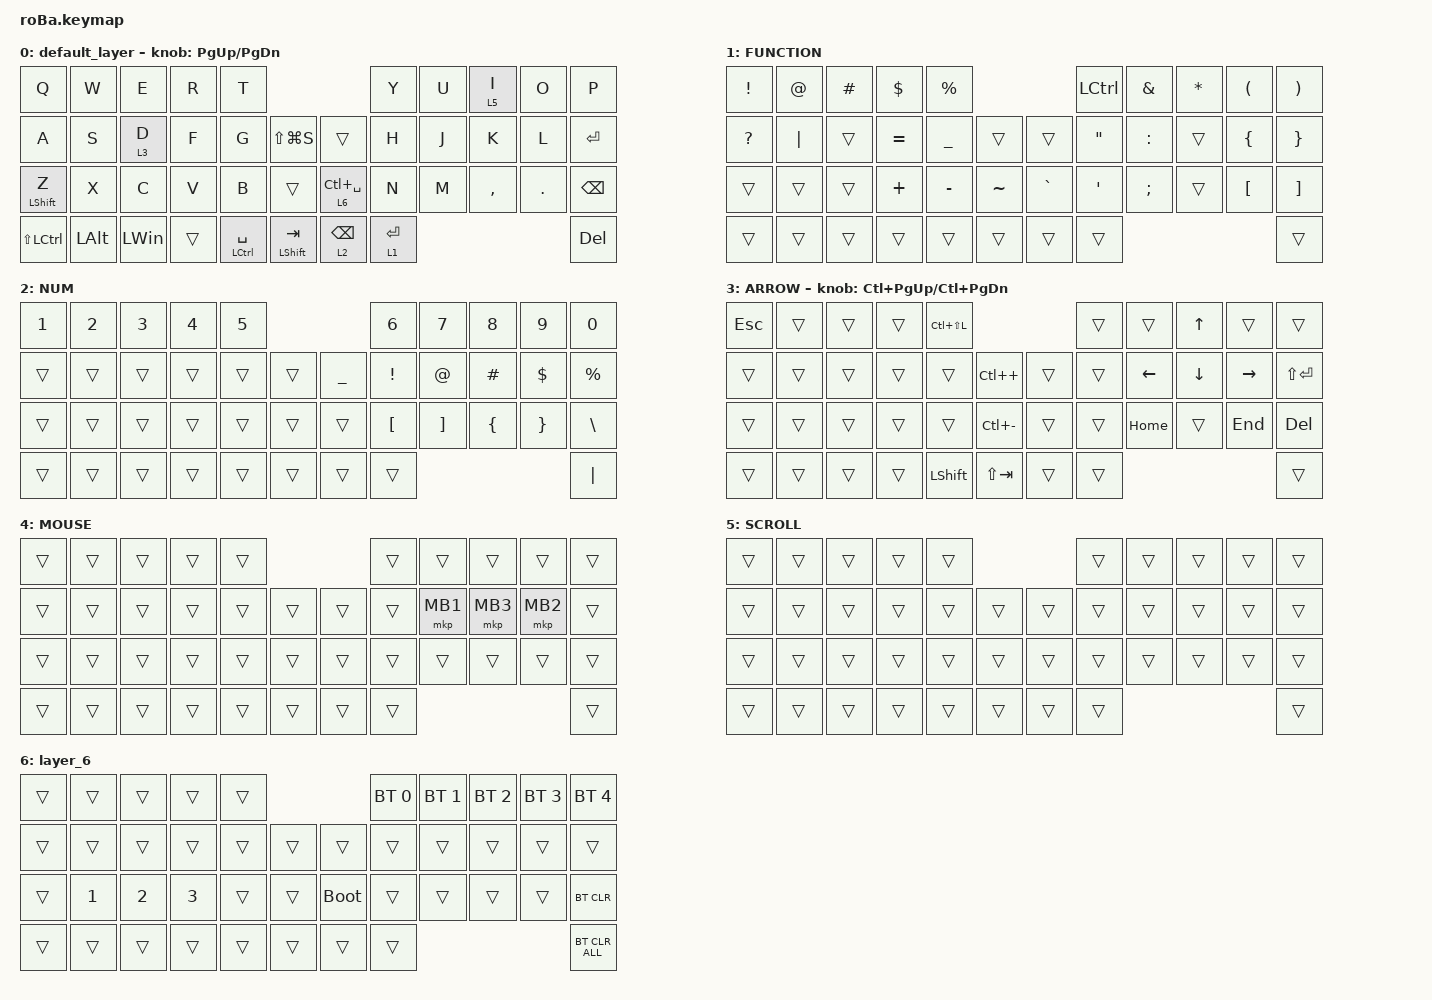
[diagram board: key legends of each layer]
#include <behaviors.dtsi>
#include <dt-bindings/zmk/bt.h>
#include <dt-bindings/zmk/keys.h>
#include <dt-bindings/zmk/pointing.h>

&mt {
    flavor = "balanced";
    quick-tap-ms = <0>;
};

/ {
    combos {
        compatible = "zmk,combos";

        tab {
            bindings = <&kp TAB>;
            key-positions = <11 12>;
        };

        shift_tab {
            bindings = <&kp LS(TAB)>;
            key-positions = <12 13>;
        };

        muhennkann {
            bindings = <&to_layer_0 INT_MUHENKAN>;
            key-positions = <11 10>;
        };

        double_quotation {
            bindings = <&kp DOUBLE_QUOTES>;
            key-positions = <20 21>;
        };

        eq {
            bindings = <&kp EQUAL>;
            key-positions = <24 25>;
        };
    };

    macros {
        to_layer_0: to_layer_0 {
            compatible = "zmk,behavior-macro-one-param";
            #binding-cells = <1>;
            bindings = <&to 0 &macro_param_1to1 &kp MACRO_PLACEHOLDER>;
            label = "TO_LAYER_0";
        };
    };

    behaviors {
        lt_to_layer_0: lt_to_layer_0 {
            compatible = "zmk,behavior-hold-tap";
            label = "LAYER_TAP_TO_0";
            bindings = <&mo>, <&to_layer_0>;

            #binding-cells = <2>;
            tapping-term-ms = <200>;
        };
    };

    keymap {
        compatible = "zmk,keymap";

        default_layer {
            bindings = <
&kp Q             &kp W         &kp E               &kp R   &kp T                                                                &kp Y        &kp U  &lt 5 I    &kp O    &kp P
&kp A             &kp S         &lt_to_layer_0 3 D  &kp F   &kp G            &kp LS(LG(S))           &trans                      &kp H        &kp J  &kp K      &kp L    &kp ENTER
&mt LEFT_SHIFT Z  &kp X         &kp C               &kp V   &kp B            &trans                  &lt_to_layer_0 6 LC(SPACE)  &kp N        &kp M  &kp COMMA  &kp DOT  &kp BACKSPACE
&kp LS(LCTRL)     &kp LEFT_ALT  &kp LEFT_WIN        &trans  &mt LCTRL SPACE  &mt LEFT_SHIFT TAB      &lt 2 BACKSPACE             &lt 1 ENTER                             &kp DEL
            >;

            sensor-bindings = <&inc_dec_kp PG_UP PAGE_DOWN>;
        };

        FUNCTION {
            bindings = <
&kp EXCLAMATION  &kp AT_SIGN  &kp HASH  &kp DOLLAR  &kp PERCENT                               &kp LCTRL          &kp AMPERSAND  &kp ASTERISK  &kp LEFT_PARENTHESIS  &kp RIGHT_PARENTHESIS
&kp QUESTION     &kp PIPE     &trans    &kp EQUAL   &kp UNDERSCORE  &trans         &trans     &kp DOUBLE_QUOTES  &kp COLON      &trans        &kp LEFT_BRACE        &kp RIGHT_BRACE
&trans           &trans       &trans    &kp PLUS    &kp MINUS       &kp TILDE      &kp GRAVE  &kp SQT            &kp SEMICOLON  &trans        &kp LEFT_BRACKET      &kp RIGHT_BRACKET
&trans           &trans       &trans    &trans      &trans          &trans         &trans     &trans                                                                &trans
            >;
        };

        NUM {
            bindings = <
&kp NUMBER_1  &kp NUMBER_2  &kp NUMBER_3  &kp NUMBER_4  &kp N5                              &kp NUMBER_6      &kp N7             &kp N8          &kp N9           &kp N0
&trans        &trans        &trans        &trans        &trans  &trans      &kp UNDERSCORE  &kp EXCLAMATION   &kp AT_SIGN        &kp HASH        &kp DOLLAR       &kp PERCENT
&trans        &trans        &trans        &trans        &trans  &trans      &trans          &kp LEFT_BRACKET  &kp RIGHT_BRACKET  &kp LEFT_BRACE  &kp RIGHT_BRACE  &kp BACKSLASH
&trans        &trans        &trans        &trans        &trans  &trans      &trans          &trans                                                                &kp PIPE
            >;
        };

        ARROW {
            bindings = <
&kp ESCAPE  &trans  &trans  &trans  &kp LC(LS(L))                              &trans  &trans          &kp UP_ARROW    &trans           &trans
&trans      &trans  &trans  &trans  &trans          &kp LC(PLUS)       &trans  &trans  &kp LEFT_ARROW  &kp DOWN_ARROW  &kp RIGHT_ARROW  &kp LS(ENTER)
&trans      &trans  &trans  &trans  &trans          &kp LC(MINUS)      &trans  &trans  &kp HOME        &trans          &kp END          &kp DELETE
&trans      &trans  &trans  &trans  &kp LEFT_SHIFT  &kp LS(TAB)        &trans  &trans                                                   &trans
            >;

            sensor-bindings = <&inc_dec_kp LC(PAGE_UP) LC(PAGE_DOWN)>;
        };

        MOUSE {
            bindings = <
&trans  &trans  &trans  &trans  &trans                      &trans  &trans    &trans    &trans    &trans
&trans  &trans  &trans  &trans  &trans  &trans      &trans  &trans  &mkp MB1  &mkp MB3  &mkp MB2  &trans
&trans  &trans  &trans  &trans  &trans  &trans      &trans  &trans  &trans    &trans    &trans    &trans
&trans  &trans  &trans  &trans  &trans  &trans      &trans  &trans                                &trans
            >;
        };

        SCROLL {
            bindings = <
&trans  &trans  &trans  &trans  &trans                      &trans  &trans  &trans  &trans  &trans
&trans  &trans  &trans  &trans  &trans  &trans      &trans  &trans  &trans  &trans  &trans  &trans
&trans  &trans  &trans  &trans  &trans  &trans      &trans  &trans  &trans  &trans  &trans  &trans
&trans  &trans  &trans  &trans  &trans  &trans      &trans  &trans                          &trans
            >;
        };

        layer_6 {
            bindings = <
&trans  &trans        &trans        &trans        &trans                           &bt BT_SEL 0  &bt BT_SEL 1  &bt BT_SEL 2  &bt BT_SEL 3  &bt BT_SEL 4
&trans  &trans        &trans        &trans        &trans  &trans      &trans       &trans        &trans        &trans        &trans        &trans
&trans  &kp NUMBER_1  &kp NUMBER_2  &kp NUMBER_3  &trans  &trans      &bootloader  &trans        &trans        &trans        &trans        &bt BT_CLR
&trans  &trans        &trans        &trans        &trans  &trans      &trans       &trans                                                  &bt BT_CLR_ALL
            >;
        };
    };
};
